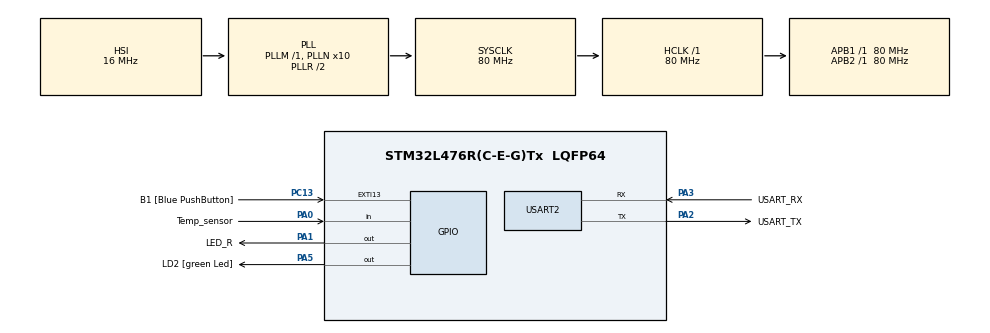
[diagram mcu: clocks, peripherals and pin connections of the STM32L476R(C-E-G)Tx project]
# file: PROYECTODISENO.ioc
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Mcu.Family=STM32L4
Mcu.Name=STM32L476R(C-E-G)Tx
Mcu.Package=LQFP64
NVIC.EXTI15_10_IRQn=true\:0\:0\:false\:false\:true\:true\:true\:true
NVIC.PriorityGroup=NVIC_PRIORITYGROUP_4
NVIC.TIM3_IRQn=true\:0\:0\:false\:false\:true\:true\:true\:true
NVIC.USART2_IRQn=true\:0\:0\:false\:false\:true\:true\:true\:true
PA0.GPIO_Label=Temp_sensor
PA0.Signal=GPIO_Input
PA1.GPIO_Label=LED_R
PA1.Signal=GPIO_Output
PA13\ (JTMS-SWDIO).GPIO_Label=TMS
PA13\ (JTMS-SWDIO).Signal=SYS_JTMS-SWDIO
PA14\ (JTCK-SWCLK).GPIO_Label=TCK
PA14\ (JTCK-SWCLK).Signal=SYS_JTCK-SWCLK
PA2.GPIO_Label=USART_TX
PA2.GPIO_Mode=GPIO_MODE_AF_PP
PA2.GPIO_PuPd=GPIO_NOPULL
PA2.GPIO_Speed=GPIO_SPEED_FREQ_VERY_HIGH
PA2.Mode=Asynchronous
PA2.Signal=USART2_TX
PA3.GPIO_Label=USART_RX
PA3.GPIO_Mode=GPIO_MODE_AF_PP
PA3.GPIO_PuPd=GPIO_NOPULL
PA3.GPIO_Speed=GPIO_SPEED_FREQ_VERY_HIGH
PA3.Mode=Asynchronous
PA3.Signal=USART2_RX
PA5.GPIO_Label=LD2 [green Led]
PA5.GPIO_ModeDefaultOutputPP=GPIO_MODE_OUTPUT_PP
PA5.GPIO_PuPd=GPIO_NOPULL
PA5.GPIO_Speed=GPIO_SPEED_FREQ_LOW
PA5.Signal=GPIO_Output
PB3\ (JTDO-TRACESWO).GPIO_Label=SWO
PB3\ (JTDO-TRACESWO).Signal=SYS_JTDO-SWO
PC13.GPIO_Label=B1 [Blue PushButton]
PC13.GPIO_ModeDefaultEXTI=GPIO_MODE_IT_FALLING
PC13.GPIO_PuPd=GPIO_NOPULL
PC13.Signal=GPXTI13
PC14-OSC32_IN\ (PC14).Signal=RCC_OSC32_IN
PC15-OSC32_OUT\ (PC15).Signal=RCC_OSC32_OUT
PH0-OSC_IN\ (PH0).Signal=RCC_OSC_IN
PH1-OSC_OUT\ (PH1).Signal=RCC_OSC_OUT
ProjectManager.HeapSize=0x200
ProjectManager.StackSize=0x400
ProjectManager.TargetToolchain=STM32CubeIDE
RCC.ADCFreq_Value=64000000
RCC.AHBFreq_Value=80000000
RCC.APB1Freq_Value=80000000
RCC.APB1TimFreq_Value=80000000
RCC.APB2Freq_Value=80000000
RCC.APB2TimFreq_Value=80000000
RCC.CortexFreq_Value=80000000
RCC.HCLKFreq_Value=80000000
RCC.HSE_VALUE=8000000
RCC.HSI_VALUE=16000000
RCC.LSE_VALUE=32768
RCC.MSI_VALUE=4000000
RCC.PLLN=10
RCC.PLLSourceVirtual=RCC_PLLSOURCE_HSI
RCC.PREFETCH_ENABLE=1
RCC.SYSCLKFreq_VALUE=80000000
RCC.SYSCLKSource=RCC_SYSCLKSOURCE_PLLCLK
RCC.USBFreq_Value=64000000
RCC.VCOOutputFreq_Value=160000000
TIM3.AutoReloadPreload=TIM_AUTORELOAD_PRELOAD_ENABLE
TIM3.Period=500
TIM3.Prescaler=7999
USART2.OverrunDisableParam=ADVFEATURE_OVERRUN_DISABLE
USART2.VirtualMode-Asynchronous=VM_ASYNC
VP_TIM3_VS_ClockSourceINT.Mode=Internal
board=NUCLEO-L476RG

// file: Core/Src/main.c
/* USER CODE BEGIN Header */
/**
  ******************************************************************************
  * @file           : main.c
  * @brief          : Main program body
  ******************************************************************************
  * @attention
  *
  * Copyright (c) 2023 STMicroelectronics.
  * All rights reserved.
  *
  * This software is licensed under terms that can be found in the LICENSE file
  * in the root directory of this software component.
  * If no LICENSE file comes with this software, it is provided AS-IS.
  *
  ******************************************************************************
  */
/* USER CODE END Header */
#include "main.h"

/* USER CODE BEGIN Includes */
#include "machine_control.h"
#define UART_ACTIVE
#define BUTTON_ACTIVE
/* USER CODE END Includes */

TIM_HandleTypeDef htim3;

UART_HandleTypeDef huart2;

/* USER CODE BEGIN PV */
uint8_t  counter_50ms;
char rx_buffer [RX_BUFFER_LEN] ;
flag_states uart_flag;
uint8_t rx_position_counter;
/* USER CODE END PV */

void SystemClock_Config(void);
static void MX_GPIO_Init(void);
static void MX_TIM3_Init(void);
static void MX_USART2_UART_Init(void);

int main(void)
{

  /* MCU Configuration--------------------------------------------------------*/

  /* Reset of all peripherals, Initializes the Flash interface and the Systick. */
  HAL_Init();

  /* Configure the system clock */
  SystemClock_Config();

  /* Initialize all configured peripherals */
  MX_GPIO_Init();
  MX_TIM3_Init();
  MX_USART2_UART_Init();
  /* USER CODE BEGIN 2 */
  HAL_TIM_Base_Start_IT(&htim3);
  /* USER CODE END 2 */

  /* Infinite loop */
  /* USER CODE BEGIN WHILE */
  intialize_machine_states();
  rx_position_counter = 0;
  HAL_UART_Receive_IT(&huart2, (uint8_t *) &rx_buffer[rx_position_counter], 1);
  while (1)
  {
	  /* USER CODE END WHILE */

	  /* USER CODE BEGIN 3 */
	  machine_states();
#ifdef UART_ACTIVE
	  if (uart_flag == ACTIVATED){
		  compare_string();
		  uart_flag = RELEASED;
	  }
#endif

  }
  /* USER CODE END 3 */
}

void SystemClock_Config(void)
{
  RCC_OscInitTypeDef RCC_OscInitStruct = {0};
  RCC_ClkInitTypeDef RCC_ClkInitStruct = {0};

  /** Configure the main internal regulator output voltage
  */
  if (HAL_PWREx_ControlVoltageScaling(PWR_REGULATOR_VOLTAGE_SCALE1) != HAL_OK)
  {
    Error_Handler();
  }

  /** Initializes the RCC Oscillators according to the specified parameters
  * in the RCC_OscInitTypeDef structure.
  */
  RCC_OscInitStruct.OscillatorType = RCC_OSCILLATORTYPE_HSI;
  RCC_OscInitStruct.HSIState = RCC_HSI_ON;
  RCC_OscInitStruct.HSICalibrationValue = RCC_HSICALIBRATION_DEFAULT;
  RCC_OscInitStruct.PLL.PLLState = RCC_PLL_ON;
  RCC_OscInitStruct.PLL.PLLSource = RCC_PLLSOURCE_HSI;
  RCC_OscInitStruct.PLL.PLLM = 1;
  RCC_OscInitStruct.PLL.PLLN = 10;
  RCC_OscInitStruct.PLL.PLLP = RCC_PLLP_DIV7;
  RCC_OscInitStruct.PLL.PLLQ = RCC_PLLQ_DIV2;
  RCC_OscInitStruct.PLL.PLLR = RCC_PLLR_DIV2;
  if (HAL_RCC_OscConfig(&RCC_OscInitStruct) != HAL_OK)
  {
    Error_Handler();
  }

  /** Initializes the CPU, AHB and APB buses clocks
  */
  RCC_ClkInitStruct.ClockType = RCC_CLOCKTYPE_HCLK|RCC_CLOCKTYPE_SYSCLK
                              |RCC_CLOCKTYPE_PCLK1|RCC_CLOCKTYPE_PCLK2;
  RCC_ClkInitStruct.SYSCLKSource = RCC_SYSCLKSOURCE_PLLCLK;
  RCC_ClkInitStruct.AHBCLKDivider = RCC_SYSCLK_DIV1;
  RCC_ClkInitStruct.APB1CLKDivider = RCC_HCLK_DIV1;
  RCC_ClkInitStruct.APB2CLKDivider = RCC_HCLK_DIV1;

  if (HAL_RCC_ClockConfig(&RCC_ClkInitStruct, FLASH_LATENCY_4) != HAL_OK)
  {
    Error_Handler();
  }
}

static void MX_TIM3_Init(void)
{

  TIM_ClockConfigTypeDef sClockSourceConfig = {0};
  TIM_MasterConfigTypeDef sMasterConfig = {0};

  htim3.Instance = TIM3;
  htim3.Init.Prescaler = 7999;
  htim3.Init.CounterMode = TIM_COUNTERMODE_UP;
  htim3.Init.Period = 500;
  htim3.Init.ClockDivision = TIM_CLOCKDIVISION_DIV1;
  htim3.Init.AutoReloadPreload = TIM_AUTORELOAD_PRELOAD_ENABLE;
  if (HAL_TIM_Base_Init(&htim3) != HAL_OK)
  {
    Error_Handler();
  }
  sClockSourceConfig.ClockSource = TIM_CLOCKSOURCE_INTERNAL;
  if (HAL_TIM_ConfigClockSource(&htim3, &sClockSourceConfig) != HAL_OK)
  {
    Error_Handler();
  }
  sMasterConfig.MasterOutputTrigger = TIM_TRGO_RESET;
  sMasterConfig.MasterSlaveMode = TIM_MASTERSLAVEMODE_DISABLE;
  if (HAL_TIMEx_MasterConfigSynchronization(&htim3, &sMasterConfig) != HAL_OK)
  {
    Error_Handler();
  }

}

static void MX_USART2_UART_Init(void)
{

  huart2.Instance = USART2;
  huart2.Init.BaudRate = 115200;
  huart2.Init.WordLength = UART_WORDLENGTH_8B;
  huart2.Init.StopBits = UART_STOPBITS_1;
  huart2.Init.Parity = UART_PARITY_NONE;
  huart2.Init.Mode = UART_MODE_TX_RX;
  huart2.Init.HwFlowCtl = UART_HWCONTROL_NONE;
  huart2.Init.OverSampling = UART_OVERSAMPLING_16;
  huart2.Init.OneBitSampling = UART_ONE_BIT_SAMPLE_DISABLE;
  huart2.AdvancedInit.AdvFeatureInit = UART_ADVFEATURE_RXOVERRUNDISABLE_INIT;
  huart2.AdvancedInit.OverrunDisable = UART_ADVFEATURE_OVERRUN_DISABLE;
  if (HAL_UART_Init(&huart2) != HAL_OK)
  {
    Error_Handler();
  }

}

static void MX_GPIO_Init(void)
{
  GPIO_InitTypeDef GPIO_InitStruct = {0};

  /* GPIO Ports Clock Enable */
  __HAL_RCC_GPIOC_CLK_ENABLE();
  __HAL_RCC_GPIOH_CLK_ENABLE();
  __HAL_RCC_GPIOA_CLK_ENABLE();
  __HAL_RCC_GPIOB_CLK_ENABLE();

  /*Configure GPIO pin Output Level */
  HAL_GPIO_WritePin(GPIOA, LED_R_Pin|LD2_Pin, GPIO_PIN_RESET);

  /*Configure GPIO pin : B1_Pin */
  GPIO_InitStruct.Pin = B1_Pin;
  GPIO_InitStruct.Mode = GPIO_MODE_IT_FALLING;
  GPIO_InitStruct.Pull = GPIO_NOPULL;
  HAL_GPIO_Init(B1_GPIO_Port, &GPIO_InitStruct);

  /*Configure GPIO pin : Temp_sensor_Pin */
  GPIO_InitStruct.Pin = Temp_sensor_Pin;
  GPIO_InitStruct.Mode = GPIO_MODE_INPUT;
  GPIO_InitStruct.Pull = GPIO_NOPULL;
  HAL_GPIO_Init(Temp_sensor_GPIO_Port, &GPIO_InitStruct);

  /*Configure GPIO pins : LED_R_Pin LD2_Pin */
  GPIO_InitStruct.Pin = LED_R_Pin|LD2_Pin;
  GPIO_InitStruct.Mode = GPIO_MODE_OUTPUT_PP;
  GPIO_InitStruct.Pull = GPIO_NOPULL;
  GPIO_InitStruct.Speed = GPIO_SPEED_FREQ_LOW;
  HAL_GPIO_Init(GPIOA, &GPIO_InitStruct);

  /* EXTI interrupt init*/
  HAL_NVIC_SetPriority(EXTI15_10_IRQn, 0, 0);
  HAL_NVIC_EnableIRQ(EXTI15_10_IRQn);

}

/* USER CODE BEGIN 4 */
void HAL_GPIO_EXTI_Callback(uint16_t GPIO_Pin)
{
  /* Prevent unused argument(s) compilation warning */
#ifdef BUTTON_ACTIVE
  if (GPIO_Pin == B1_Pin){
	  change_to_next_state();
  }
#endif
  /* NOTE: This function should not be modified, when the callback is needed,
           the HAL_GPIO_EXTI_Callback could be implemented in the user file
   */
}
#ifdef UART_ACTIVE
void HAL_UART_RxCpltCallback(UART_HandleTypeDef *huart){

	if ( huart == &huart2){
		rx_position_counter++;
		HAL_UART_Receive_IT(&huart2, (uint8_t *) &rx_buffer[rx_position_counter], 1);
		uart_flag = ACTIVATED;
	}

}
#endif
/* USER CODE END 4 */

void Error_Handler(void)
{
  __disable_irq();
  while (1)
  {
  }
}
